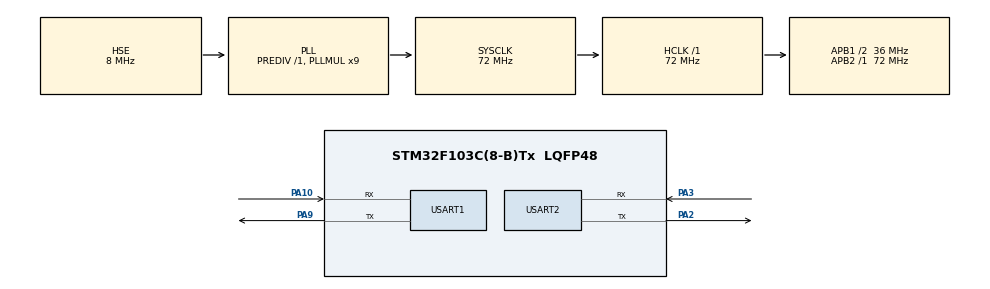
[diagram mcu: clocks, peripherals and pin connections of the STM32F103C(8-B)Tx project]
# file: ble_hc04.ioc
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Dma.Request0=USART2_RX
Dma.Request1=USART2_TX
Dma.USART2_RX.0.Direction=DMA_PERIPH_TO_MEMORY
Dma.USART2_RX.0.Instance=DMA1_Channel6
Dma.USART2_RX.0.MemDataAlignment=DMA_MDATAALIGN_BYTE
Dma.USART2_RX.0.MemInc=DMA_MINC_ENABLE
Dma.USART2_RX.0.Mode=DMA_CIRCULAR
Dma.USART2_RX.0.PeriphDataAlignment=DMA_PDATAALIGN_BYTE
Dma.USART2_RX.0.PeriphInc=DMA_PINC_DISABLE
Dma.USART2_RX.0.Priority=DMA_PRIORITY_LOW
Dma.USART2_TX.1.Direction=DMA_MEMORY_TO_PERIPH
Dma.USART2_TX.1.Instance=DMA1_Channel7
Dma.USART2_TX.1.MemDataAlignment=DMA_MDATAALIGN_BYTE
Dma.USART2_TX.1.MemInc=DMA_MINC_ENABLE
Dma.USART2_TX.1.Mode=DMA_NORMAL
Dma.USART2_TX.1.PeriphDataAlignment=DMA_PDATAALIGN_BYTE
Dma.USART2_TX.1.PeriphInc=DMA_PINC_DISABLE
Dma.USART2_TX.1.Priority=DMA_PRIORITY_LOW
Mcu.Family=STM32F1
Mcu.Name=STM32F103C(8-B)Tx
Mcu.Package=LQFP48
NVIC.DMA1_Channel6_IRQn=true\:0\:0\:false\:false\:true\:false\:true\:true
NVIC.DMA1_Channel7_IRQn=true\:0\:0\:false\:false\:true\:false\:true\:true
NVIC.PriorityGroup=NVIC_PRIORITYGROUP_4
NVIC.USART2_IRQn=true\:0\:0\:false\:false\:true\:false\:true\:true
PA10.Mode=Asynchronous
PA10.Signal=USART1_RX
PA13.Mode=Serial_Wire
PA13.Signal=SYS_JTMS-SWDIO
PA14.Mode=Serial_Wire
PA14.Signal=SYS_JTCK-SWCLK
PA2.Mode=Asynchronous
PA2.Signal=USART2_TX
PA3.Mode=Asynchronous
PA3.Signal=USART2_RX
PA9.Mode=Asynchronous
PA9.Signal=USART1_TX
PC14-OSC32_IN.Mode=LSE-External-Oscillator
PC14-OSC32_IN.Signal=RCC_OSC32_IN
PC15-OSC32_OUT.Mode=LSE-External-Oscillator
PC15-OSC32_OUT.Signal=RCC_OSC32_OUT
PD0-OSC_IN.Mode=HSE-External-Oscillator
PD0-OSC_IN.Signal=RCC_OSC_IN
PD1-OSC_OUT.Mode=HSE-External-Oscillator
PD1-OSC_OUT.Signal=RCC_OSC_OUT
ProjectManager.HeapSize=0x200
ProjectManager.StackSize=0x400
ProjectManager.TargetToolchain=CMake
RCC.AHBFreq_Value=72000000
RCC.APB1CLKDivider=RCC_HCLK_DIV2
RCC.APB1Freq_Value=36000000
RCC.APB1TimFreq_Value=72000000
RCC.APB2Freq_Value=72000000
RCC.APB2TimFreq_Value=72000000
RCC.HCLKFreq_Value=72000000
RCC.PLLMUL=RCC_PLL_MUL9
RCC.PLLSourceVirtual=RCC_PLLSOURCE_HSE
RCC.SYSCLKFreq_VALUE=72000000
RCC.SYSCLKSource=RCC_SYSCLKSOURCE_PLLCLK
RCC.USBFreq_Value=72000000
USART1.VirtualMode=VM_ASYNC
USART2.VirtualMode=VM_ASYNC
board=custom

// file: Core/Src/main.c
/* USER CODE BEGIN Header */
/**
  ******************************************************************************
  * @file           : main.c
  * @brief          : Main program body
  ******************************************************************************
  * @attention
  *
  * Copyright (c) 2026 STMicroelectronics.
  * All rights reserved.
  *
  * This software is licensed under terms that can be found in the LICENSE file
  * in the root directory of this software component.
  * If no LICENSE file comes with this software, it is provided AS-IS.
  *
  ******************************************************************************
  */
/* USER CODE END Header */
#include "main.h"
#include "dma.h"
#include "usart.h"
#include "gpio.h"

/* USER CODE BEGIN Includes */
#include <stdio.h>

#include "usart_ring.h"
#include "ble.h"
/* USER CODE END Includes */

void SystemClock_Config(void);

/* USER CODE BEGIN 0 */
static uint8_t rx_buf[512];
static uint8_t tx_buf[256];
USART_RING_S uart2_ring;
BLE_S ble;

int _write(int file, char *ptr, int len)
{
  HAL_UART_Transmit(&huart1, (uint8_t*)ptr, len, HAL_MAX_DELAY);
  return len;
}
/* USER CODE END 0 */

int main(void)
{

  /* MCU Configuration--------------------------------------------------------*/

  /* Reset of all peripherals, Initializes the Flash interface and the Systick. */
  HAL_Init();

  /* Configure the system clock */
  SystemClock_Config();

  /* Initialize all configured peripherals */
  MX_GPIO_Init();
  MX_DMA_Init();
  MX_USART1_UART_Init();
  MX_USART2_UART_Init();
  /* USER CODE BEGIN 2 */
  USART_RING_CFG_S ucfg = {
    .huart        = &huart2,
    .rx_buf       = rx_buf,
    .rx_buf_size  = sizeof(rx_buf),
    .tx_buf       = tx_buf,
    .tx_buf_size  = sizeof(tx_buf),
    .baud_rate    = 115200
};
  USART_RING_Create(&uart2_ring, &ucfg);

  ble_create(&ble, &uart2_ring);  // 自动检测波特率 → 切换到 115200

  ble.test(&ble, 500);                        // AT 测试
  ble.set_led(&ble, 1, 500);                 // 开 LED
  /* USER CODE END 2 */

  /* Infinite loop */
  /* USER CODE BEGIN WHILE */
  while (1)
  {
    uart2_ring.send(&uart2_ring, "hello world\r\n");
    HAL_Delay(1000);
    uint16_t n = uart2_ring.available(&uart2_ring);
    if (n > 0)
    {
      uint8_t data[128];
      uart2_ring.read(&uart2_ring, data, sizeof(data));
      printf("ble recives: %s\r\n", (char *)data);
    }
    /* USER CODE END WHILE */

  }
}

void SystemClock_Config(void)
{
  RCC_OscInitTypeDef RCC_OscInitStruct = {0};
  RCC_ClkInitTypeDef RCC_ClkInitStruct = {0};

  /** Initializes the RCC Oscillators according to the specified parameters
  * in the RCC_OscInitTypeDef structure.
  */
  RCC_OscInitStruct.OscillatorType = RCC_OSCILLATORTYPE_HSE;
  RCC_OscInitStruct.HSEState = RCC_HSE_ON;
  RCC_OscInitStruct.HSEPredivValue = RCC_HSE_PREDIV_DIV1;
  RCC_OscInitStruct.HSIState = RCC_HSI_ON;
  RCC_OscInitStruct.PLL.PLLState = RCC_PLL_ON;
  RCC_OscInitStruct.PLL.PLLSource = RCC_PLLSOURCE_HSE;
  RCC_OscInitStruct.PLL.PLLMUL = RCC_PLL_MUL9;
  if (HAL_RCC_OscConfig(&RCC_OscInitStruct) != HAL_OK)
  {
    Error_Handler();
  }

  /** Initializes the CPU, AHB and APB buses clocks
  */
  RCC_ClkInitStruct.ClockType = RCC_CLOCKTYPE_HCLK|RCC_CLOCKTYPE_SYSCLK
                              |RCC_CLOCKTYPE_PCLK1|RCC_CLOCKTYPE_PCLK2;
  RCC_ClkInitStruct.SYSCLKSource = RCC_SYSCLKSOURCE_PLLCLK;
  RCC_ClkInitStruct.AHBCLKDivider = RCC_SYSCLK_DIV1;
  RCC_ClkInitStruct.APB1CLKDivider = RCC_HCLK_DIV2;
  RCC_ClkInitStruct.APB2CLKDivider = RCC_HCLK_DIV1;

  if (HAL_RCC_ClockConfig(&RCC_ClkInitStruct, FLASH_LATENCY_2) != HAL_OK)
  {
    Error_Handler();
  }
}

void Error_Handler(void)
{
  __disable_irq();
  while (1)
  {
  }
}
